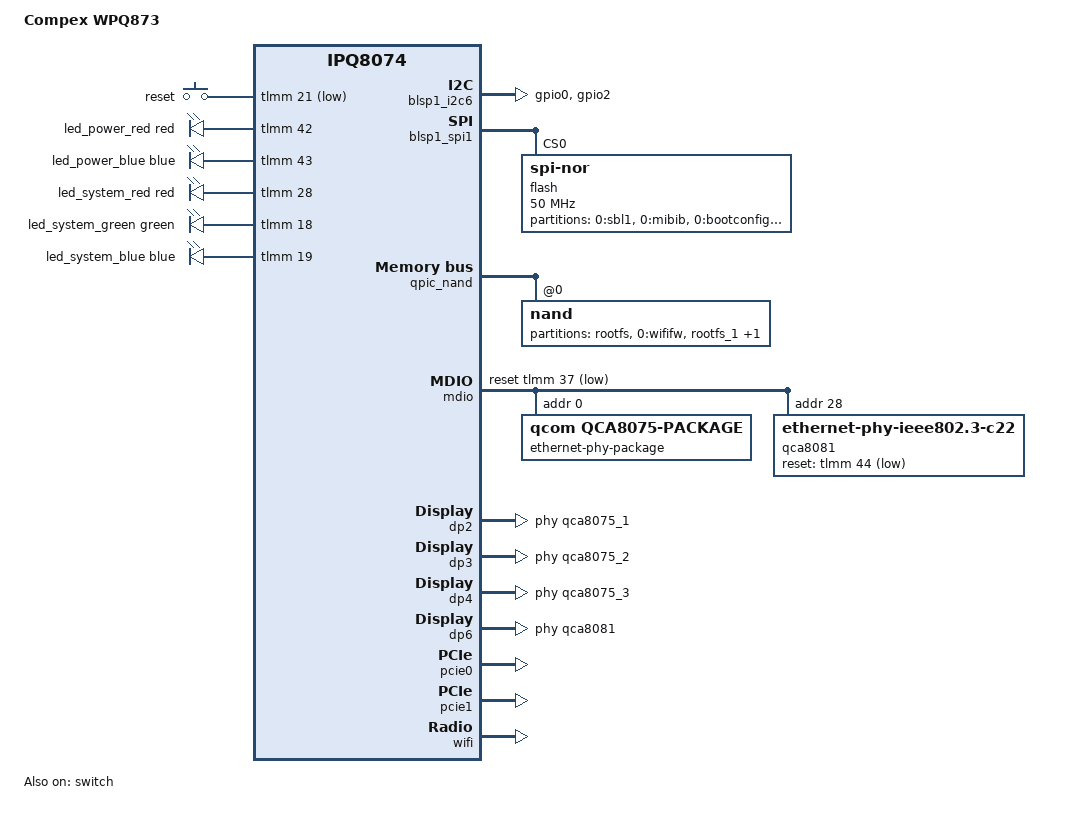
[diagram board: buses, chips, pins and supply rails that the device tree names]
// SPDX-License-Identifier: GPL-2.0-or-later OR MIT

/dts-v1/;

#include "ipq8074.dtsi"
#include "ipq8074-ess.dtsi"
#include "ipq8074-nss.dtsi"
#include "ipq8074-common.dtsi"
#include "ipq8074-hk-cpu.dtsi"

#include <dt-bindings/gpio/gpio.h>
#include <dt-bindings/input/input.h>
#include <dt-bindings/leds/common.h>

/ {
	model = "Compex WPQ873";
	compatible = "compex,wpq873", "qcom,ipq8074";

	aliases {
		serial0 = &blsp1_uart5;

		led-boot = &led_power_blue;
		led-failsafe = &led_power_red;
		led-running = &led_system_green;
		led-upgrade = &led_system_blue;

		ethernet0 = &dp6;
		ethernet1 = &dp2;
		ethernet2 = &dp3;
		ethernet3 = &dp4;

		label-mac-device = &dp6;
	};

	chosen {
		stdout-path = "serial0:115200n8";
		bootargs-append = " root=/dev/ubiblock0_1";
	};

	keys {
		compatible = "gpio-keys";

		reset {
			label = "reset";
			gpios = <&tlmm 21 GPIO_ACTIVE_LOW>;
			linux,code = <KEY_RESTART>;
		};
	};

	leds {
		compatible = "gpio-leds";

		led_power_red: power-red {
			gpios = <&tlmm 42 GPIO_ACTIVE_HIGH>;
			color = <LED_COLOR_ID_RED>;
		};

		led_power_blue: power-blue {
			gpios = <&tlmm 43 GPIO_ACTIVE_HIGH>;
			color = <LED_COLOR_ID_BLUE>;
		};

		led_system_red: system-red {
			gpios = <&tlmm 28 GPIO_ACTIVE_HIGH>;
			color = <LED_COLOR_ID_RED>;
		};

		led_system_green: system-green {
			gpios = <&tlmm 18 GPIO_ACTIVE_HIGH>;
			color = <LED_COLOR_ID_GREEN>;
		};

		led_system_blue: system-blue {
			gpios = <&tlmm 19 GPIO_ACTIVE_HIGH>;
			color = <LED_COLOR_ID_BLUE>;
		};
	};
};

&tlmm {
	i2c_pins: i2c-pins {
		pins = "gpio0", "gpio2";
		function = "blsp5_i2c";
		drive-strength = <8>;
		bias-disable;
	};
};

&blsp1_i2c6 {
	status = "okay";

	pinctrl-0 = <&i2c_pins>;
	pinctrl-names = "default";
};

&blsp1_spi1 {
	status = "okay";

	flash@0 {
		compatible = "jedec,spi-nor";
		spi-max-frequency = <50000000>;
		reg = <0>;

		partitions {
			compatible = "fixed-partitions";
			#address-cells = <1>;
			#size-cells = <1>;

			partition@0 {
				label = "0:sbl1";
				reg = <0x00000000 0x00050000>;
				read-only;
			};

			partition@50000 {
				label = "0:mibib";
				reg = <0x00050000 0x00010000>;
				read-only;
			};

			partition@60000 {
				label = "0:bootconfig";
				reg = <0x00060000 0x00020000>;
				read-only;
			};

			partition@80000 {
				label = "0:bootconfig1";
				reg = <0x00080000 0x00020000>;
				read-only;
			};

			partition@a0000 {
				label = "0:qsee";
				reg = <0x000a0000 0x00180000>;
				read-only;
			};

			partition@220000 {
				label = "0:qsee_1";
				reg = <0x00220000 0x00180000>;
				read-only;
			};

			partition@3a0000 {
				label = "0:devcfg";
				reg = <0x003a0000 0x00010000>;
				read-only;
			};

			partition@3b0000 {
				label = "0:devcfg_1";
				reg = <0x003b0000 0x00010000>;
				read-only;
			};

			partition@3c0000 {
				label = "0:apdp";
				reg = <0x003c0000 0x00010000>;
				read-only;
			};

			partition@3d0000 {
				label = "0:apdp_1";
				reg = <0x003d0000 0x00010000>;
				read-only;
			};

			partition@3e0000 {
				label = "0:rpm";
				reg = <0x003e0000 0x00040000>;
				read-only;
			};

			partition@420000 {
				label = "0:rpm_1";
				reg = <0x00420000 0x00040000>;
				read-only;
			};

			partition@460000 {
				label = "0:cdt";
				reg = <0x00460000 0x00010000>;
				read-only;
			};

			partition@470000 {
				label = "0:cdt_1";
				reg = <0x00470000 0x00010000>;
				read-only;
			};

			partition@480000 {
				label = "0:appsblenv";
				reg = <0x00480000 0x00010000>;
			};

			partition@490000 {
				label = "0:appsbl";
				reg = <0x00490000 0x000a0000>;
				read-only;
			};

			partition@550000 {
				label = "0:appsbl_1";
				reg = <0x00530000 0x000a0000>;
				read-only;
			};

			partition@610000 {
				label = "0:art";
				reg = <0x005d0000 0x00040000>;
				read-only;
			};

			partition@650000 {
				label = "0:ethphyfw";
				reg = <0x00610000 0x00080000>;
				read-only;
			};
		};
	};
};

&qpic_nand {
	status = "okay";

	partitions {
		status = "disabled";
	};

	nand@0 {
		reg = <0>;

		nand-ecc-strength = <8>;
		nand-ecc-step-size = <512>;
		nand-bus-width = <8>;

		partitions {
			compatible = "fixed-partitions";
			#address-cells = <1>;
			#size-cells = <1>;

			partition@0 {
				label = "rootfs";
				reg = <0x00000000 0x03400000>;
			};

			partition@3400000 {
				label = "0:wififw";
				reg = <0x03400000 0x00800000>;
				read-only;
			};

			partition@3c00000 {
				label = "rootfs_1";
				reg = <0x03c00000 0x03400000>;
			};

			partition@7000000 {
				label = "0:wififw_1";
				reg = <0x07000000 0x00800000>;
				read-only;
			};
		};
	};
};

&mdio {
	status = "okay";

	pinctrl-0 = <&mdio_pins>;
	pinctrl-names = "default";
	reset-gpios = <&tlmm 37 GPIO_ACTIVE_LOW>;

	ethernet-phy-package@0 {
		compatible = "qcom,qca8075-package";
		#address-cells = <1>;
		#size-cells = <0>;
		reg = <0>;

		qca8075_1: ethernet-phy@1 {
			compatible = "ethernet-phy-ieee802.3-c22";
			reg = <1>;
		};

		qca8075_2: ethernet-phy@2 {
			compatible = "ethernet-phy-ieee802.3-c22";
			reg = <2>;
		};

		qca8075_3: ethernet-phy@3 {
			compatible = "ethernet-phy-ieee802.3-c22";
			reg = <3>;
		};
	};

	qca8081: ethernet-phy@28 {
		compatible = "ethernet-phy-ieee802.3-c22";
		reg = <28>;
		reset-deassert-us = <10000>;
		reset-gpios = <&tlmm 44 GPIO_ACTIVE_LOW>;
	};
};

&switch {
	status = "okay";

	switch_lan_bmp = <(ESS_PORT2 | ESS_PORT3 | ESS_PORT4)>;
	switch_wan_bmp = <ESS_PORT6>;
	switch_mac_mode = <MAC_MODE_PSGMII>;
	switch_mac_mode1 = <MAC_MODE_SGMII_PLUS>;
	switch_mac_mode2 = <MAC_MODE_SGMII_PLUS>;

	qcom,port_phyinfo {
		port@2 {
			port_id = <2>;
			phy_address = <1>;
		};

		port@3 {
			port_id = <3>;
			phy_address = <2>;
		};

		port@4 {
			port_id = <4>;
			phy_address = <3>;
		};

		port@6 {
			port_id = <6>;
			phy_address = <28>;
			port_mac_sel = "QGMAC_PORT";
		};
	};
};

&edma {
	status = "okay";
};

&dp2 {
	status = "okay";
	phy-handle = <&qca8075_1>;
	label = "lan1";
};

&dp3 {
	status = "okay";
	phy-handle = <&qca8075_2>;
	label = "lan2";
};

&dp4 {
	status = "okay";
	phy-handle = <&qca8075_3>;
	label = "lan3";
};

&dp6 {
	status = "okay";
	phy-handle = <&qca8081>;
	label = "wan";
};

&pcie0 {
	status = "okay";
	perst-gpios = <&tlmm 58 GPIO_ACTIVE_LOW>;
};

&pcie1 {
	status = "okay";
	perst-gpios = <&tlmm 62 GPIO_ACTIVE_HIGH>;
};

&wifi {
	status = "okay";
	qcom,ath11k-fw-memory-mode = <1>;
	qcom,ath11k-calibration-variant = "Compex-WPQ873";
};
